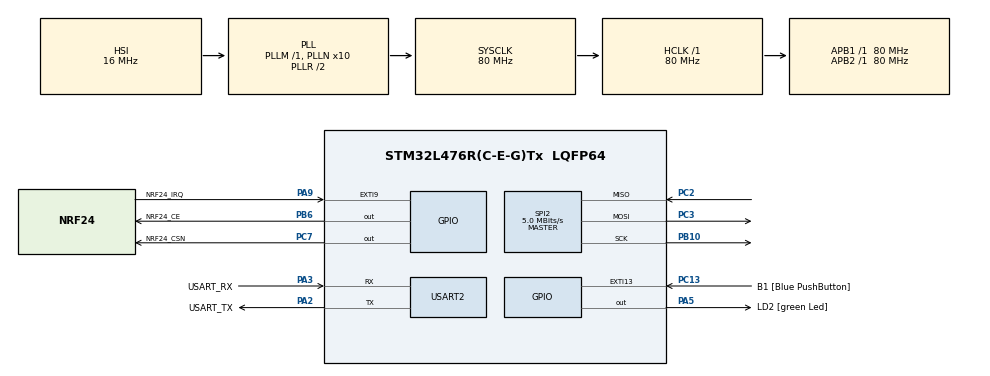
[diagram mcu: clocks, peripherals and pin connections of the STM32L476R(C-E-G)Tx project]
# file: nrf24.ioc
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Mcu.Family=STM32L4
Mcu.Name=STM32L476R(C-E-G)Tx
Mcu.Package=LQFP64
NVIC.PriorityGroup=NVIC_PRIORITYGROUP_4
PA13\ (JTMS-SWDIO).GPIO_Label=TMS
PA13\ (JTMS-SWDIO).Mode=Serial_Wire
PA13\ (JTMS-SWDIO).Signal=SYS_JTMS-SWDIO
PA14\ (JTCK-SWCLK).GPIO_Label=TCK
PA14\ (JTCK-SWCLK).Mode=Serial_Wire
PA14\ (JTCK-SWCLK).Signal=SYS_JTCK-SWCLK
PA2.GPIO_Label=USART_TX
PA2.GPIO_Mode=GPIO_MODE_AF_PP
PA2.GPIO_PuPd=GPIO_NOPULL
PA2.GPIO_Speed=GPIO_SPEED_FREQ_VERY_HIGH
PA2.Mode=Asynchronous
PA2.Signal=USART2_TX
PA3.GPIO_Label=USART_RX
PA3.GPIO_Mode=GPIO_MODE_AF_PP
PA3.GPIO_PuPd=GPIO_NOPULL
PA3.GPIO_Speed=GPIO_SPEED_FREQ_VERY_HIGH
PA3.Mode=Asynchronous
PA3.Signal=USART2_RX
PA5.GPIO_Label=LD2 [green Led]
PA5.GPIO_ModeDefaultOutputPP=GPIO_MODE_OUTPUT_PP
PA5.GPIO_PuPd=GPIO_NOPULL
PA5.GPIO_Speed=GPIO_SPEED_FREQ_LOW
PA5.Signal=GPIO_Output
PA9.GPIO_Label=NRF24_IRQ
PA9.Signal=GPXTI9
PB10.Mode=Full_Duplex_Master
PB10.Signal=SPI2_SCK
PB3\ (JTDO-TRACESWO).GPIO_Label=SWO
PB3\ (JTDO-TRACESWO).Signal=SYS_JTDO-SWO
PB6.GPIO_Label=NRF24_CE
PB6.Signal=GPIO_Output
PC13.GPIO_Label=B1 [Blue PushButton]
PC13.GPIO_ModeDefaultEXTI=GPIO_MODE_IT_FALLING
PC13.GPIO_PuPd=GPIO_NOPULL
PC13.Signal=GPXTI13
PC14-OSC32_IN\ (PC14).Mode=LSE-External-Oscillator
PC14-OSC32_IN\ (PC14).Signal=RCC_OSC32_IN
PC15-OSC32_OUT\ (PC15).Mode=LSE-External-Oscillator
PC15-OSC32_OUT\ (PC15).Signal=RCC_OSC32_OUT
PC2.Mode=Full_Duplex_Master
PC2.Signal=SPI2_MISO
PC3.Mode=Full_Duplex_Master
PC3.Signal=SPI2_MOSI
PC7.GPIO_Label=NRF24_CSN
PC7.Signal=GPIO_Output
PH0-OSC_IN\ (PH0).Signal=RCC_OSC_IN
PH1-OSC_OUT\ (PH1).Signal=RCC_OSC_OUT
ProjectManager.HeapSize=0x200
ProjectManager.StackSize=0x400
ProjectManager.TargetToolchain=STM32CubeIDE
RCC.ADCFreq_Value=64000000
RCC.AHBFreq_Value=80000000
RCC.APB1Freq_Value=80000000
RCC.APB1TimFreq_Value=80000000
RCC.APB2Freq_Value=80000000
RCC.APB2TimFreq_Value=80000000
RCC.CortexFreq_Value=80000000
RCC.HCLKFreq_Value=80000000
RCC.HSE_VALUE=8000000
RCC.HSI_VALUE=16000000
RCC.MSI_VALUE=4000000
RCC.PLLN=10
RCC.PLLSourceVirtual=RCC_PLLSOURCE_HSI
RCC.PREFETCH_ENABLE=1
RCC.SYSCLKFreq_VALUE=80000000
RCC.SYSCLKSource=RCC_SYSCLKSOURCE_PLLCLK
RCC.USBFreq_Value=64000000
RCC.VCOOutputFreq_Value=160000000
SPI2.BaudRatePrescaler=SPI_BAUDRATEPRESCALER_16
SPI2.CalculateBaudRate=5.0 MBits/s
SPI2.DataSize=SPI_DATASIZE_8BIT
SPI2.Direction=SPI_DIRECTION_2LINES
SPI2.Mode=SPI_MODE_MASTER
SPI2.VirtualType=VM_MASTER
USART2.VirtualMode-Asynchronous=VM_ASYNC
board=NUCLEO-L476RG

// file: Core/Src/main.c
/* USER CODE BEGIN Header */
/**
  ******************************************************************************
  * @file           : main.c
  * @brief          : Main program body
  ******************************************************************************
  * @attention
  *
  * Copyright (c) 2023 STMicroelectronics.
  * All rights reserved.
  *
  * This software is licensed under terms that can be found in the LICENSE file
  * in the root directory of this software component.
  * If no LICENSE file comes with this software, it is provided AS-IS.
  *
  ******************************************************************************
  */
/* USER CODE END Header */
#include "main.h"
#include "spi.h"
#include "usart.h"
#include "gpio.h"

/* USER CODE BEGIN Includes */
#include "nRF24_Defs.h"
#include "nRF24.h"

/* USER CODE END Includes */

/* USER CODE BEGIN PD */
volatile uint8_t nrf24_rx_flag, nrf24_tx_flag, nrf24_mr_flag;
uint8_t Nrf24_Message[NRF24_PAYLOAD_SIZE];
uint8_t Message[32];
uint8_t MessageLength;
//UART///
int __io_putchar(int ch){
  if (ch == '\n') {
    __io_putchar('\r');
  }
  HAL_UART_Transmit(&huart2, (uint8_t*)&ch, 1, HAL_MAX_DELAY);
  return 1;
}

/* USER CODE END PD */

void SystemClock_Config(void);

int main(void)
{

  /* MCU Configuration--------------------------------------------------------*/

  /* Reset of all peripherals, Initializes the Flash interface and the Systick. */
  HAL_Init();

  /* Configure the system clock */
  SystemClock_Config();

  /* Initialize all configured peripherals */
  MX_GPIO_Init();
  MX_USART2_UART_Init();
  MX_SPI2_Init();
  /* USER CODE BEGIN 2 */
  nRF24_Init(&hspi2);
  nRF24_SetRXAddress(0, "Nad0");
  nRF24_SetTXAddress("Odb0");
  nRF24_TX_Mode();
  uint8_t i;

  /* USER CODE END 2 */

  /* Infinite loop */
  while (1)
  {

    /* USER CODE BEGIN 3 */
	  for(i=0; i<5; i++)
	  {
		  MessageLength = sprintf(Message, "%d", i );
		  nRF24_WriteTXPayload(Message);
		  HAL_Delay(1);
		  nRF24_WaitTX();
		  HAL_Delay(1000);
	  }
  }
  /* USER CODE END 3 */
}

void SystemClock_Config(void)
{
  RCC_OscInitTypeDef RCC_OscInitStruct = {0};
  RCC_ClkInitTypeDef RCC_ClkInitStruct = {0};

  /** Configure the main internal regulator output voltage
  */
  if (HAL_PWREx_ControlVoltageScaling(PWR_REGULATOR_VOLTAGE_SCALE1) != HAL_OK)
  {
    Error_Handler();
  }

  /** Initializes the RCC Oscillators according to the specified parameters
  * in the RCC_OscInitTypeDef structure.
  */
  RCC_OscInitStruct.OscillatorType = RCC_OSCILLATORTYPE_HSI;
  RCC_OscInitStruct.HSIState = RCC_HSI_ON;
  RCC_OscInitStruct.HSICalibrationValue = RCC_HSICALIBRATION_DEFAULT;
  RCC_OscInitStruct.PLL.PLLState = RCC_PLL_ON;
  RCC_OscInitStruct.PLL.PLLSource = RCC_PLLSOURCE_HSI;
  RCC_OscInitStruct.PLL.PLLM = 1;
  RCC_OscInitStruct.PLL.PLLN = 10;
  RCC_OscInitStruct.PLL.PLLP = RCC_PLLP_DIV7;
  RCC_OscInitStruct.PLL.PLLQ = RCC_PLLQ_DIV2;
  RCC_OscInitStruct.PLL.PLLR = RCC_PLLR_DIV2;
  if (HAL_RCC_OscConfig(&RCC_OscInitStruct) != HAL_OK)
  {
    Error_Handler();
  }

  /** Initializes the CPU, AHB and APB buses clocks
  */
  RCC_ClkInitStruct.ClockType = RCC_CLOCKTYPE_HCLK|RCC_CLOCKTYPE_SYSCLK
                              |RCC_CLOCKTYPE_PCLK1|RCC_CLOCKTYPE_PCLK2;
  RCC_ClkInitStruct.SYSCLKSource = RCC_SYSCLKSOURCE_PLLCLK;
  RCC_ClkInitStruct.AHBCLKDivider = RCC_SYSCLK_DIV1;
  RCC_ClkInitStruct.APB1CLKDivider = RCC_HCLK_DIV1;
  RCC_ClkInitStruct.APB2CLKDivider = RCC_HCLK_DIV1;

  if (HAL_RCC_ClockConfig(&RCC_ClkInitStruct, FLASH_LATENCY_4) != HAL_OK)
  {
    Error_Handler();
  }
}

void Error_Handler(void)
{
  __disable_irq();
  while (1)
  {
  }
}
